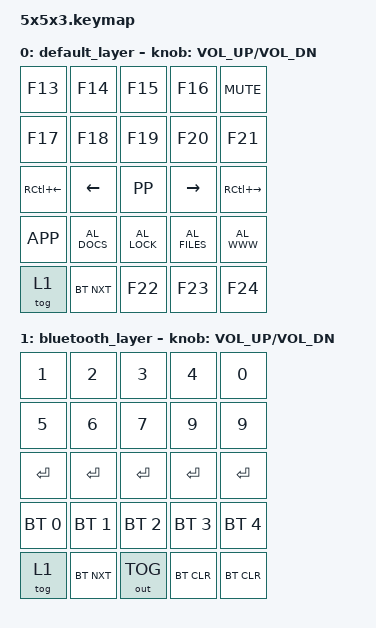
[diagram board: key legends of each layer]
#include <behaviors.dtsi>
#include <dt-bindings/zmk/keys.h>
#include <dt-bindings/zmk/bt.h>
#include <dt-bindings/zmk/ext_power.h>
#include <dt-bindings/zmk/outputs.h>
#include <dt-bindings/zmk/rgb.h>
#include <dt-bindings/zmk/lightgroup.h>
#include <dt-bindings/zmk/color.h>
#include <behaviors/hsv.dtsi>

/ {
    keymap {
        compatible = "zmk,keymap";
        default_layer {
            bindings = <
                     &kp F13         &kp F14         &kp F15         &kp F16         &kp K_MUTE
                     &kp F17         &kp F18         &kp F19         &kp F20         &kp F21
                     &kp RC(LEFT)    &kp LEFT        &kp K_PP        &kp RIGHT       &kp RC(RIGHT)
                     &kp K_APP       &kp C_AL_DOCS   &kp C_AL_LOCK   &kp C_AL_FILES  &kp C_AL_WWW
                     &tog 1          &bt BT_NXT      &kp F22         &kp F23         &kp F24
            >;
            sensor-bindings = <&inc_dec_kp C_VOL_UP C_VOL_DN>;
        };
        bluetooth_layer {
            bindings = <
                     &kp N1          &kp N2          &kp N3          &kp N4          &kp N0
                     &kp N5          &kp N6          &kp N7          &kp N9          &kp N9
                     &kp ENTER       &kp ENTER       &kp ENTER       &kp ENTER       &kp ENTER
                     &bt BT_SEL 0    &bt BT_SEL 1    &bt BT_SEL 2    &bt BT_SEL 3    &bt BT_SEL 4
                     &tog 1          &bt BT_NXT      &out OUT_TOG    &bt BT_CLR      &bt BT_CLR
            >;
            sensor-bindings = <&inc_dec_kp C_VOL_UP C_VOL_DN>;
        };
    };
    ledlayout {
        compatible = "zmk,behavior-led-layout";
        bindings = [ 00 01 02 03 04
                     09 08 07 06 05
                     0a 0b 0c 0d 0e
                     13 12 11 10 0f
                     14 15 16 17 18 ];
   };
   lightgroup {
        compatible = "zmk,light-group";
        default_layer {
            bindings = [ LG_DESKTOP  LG_DESKTOP  LG_DESKTOP  LG_DESKTOP  LG_DESKTOP
                         LG_DESKTOP  LG_DESKTOP  LG_DESKTOP  LG_DESKTOP  LG_DESKTOP
                         LG_VOLUME   LG_VOLUME   LG_VOLUME   LG_VOLUME   LG_VOLUME
                         LG_HID      LG_HID      LG_HID      LG_BATTERY  LG_BATTERY
                         LG_ENDPOINT LG_PROFILE  LG_LAYER    LG_LAYER    LG_LAYER     ];
        };
        bluetooth_layer {
            bindings = [ LG_LAYER    LG_LAYER    LG_LAYER    LG_LAYER    LG_LAYER
                         LG_LAYER    LG_LAYER    LG_LAYER    LG_LAYER    LG_LAYER
                         LG_LAYER    LG_LAYER    LG_LAYER    LG_LAYER    LG_LAYER
                         LG_PROFILE  LG_PROFILE  LG_PROFILE  LG_PROFILE  LG_PROFILE
                         LG_LAYER    LG_PROFILE  LG_PROFILE  LG_PROFILE  LG_PROFILE   ];
        };
   };
   colorgroup {
       compatible = "zmk,color-group";
       backgrounds {
           colors = < &hsv HSV_AMBER >;
       };
       batterys {
           colors = < &hsv HSV_MAGENTA      &hsv HSV_RED     &hsv HSV_YELLOW  &hsv HSV_GREEN    &hsv HSV_GREEN >;
           /*              0%--------------------25%--------------50%--------------75%---------------100%      */
       };
       desktops {
           colors =  < &hsv HSV_CHARTREUSE   &hsv HSV_YELLOW   &hsv HSV_ROSE   &hsv HSV_VIOLET   &hsv HSV_AZURE
                       &hsv HSV_MAGENTA      &hsv HSV_VOLTA    &hsv HSV_CYAN   &hsv HSV_SPRING   &hsv HSV_CRIMSON >;
       };
       endpoints {
           colors = < &hsv HSV_RED          &hsv HSV_GREEN    &hsv HSV_BLUE >;
       };
       hids {
           colors =  < &hsv HSV_RED          &hsv HSV_GREEN    &hsv HSV_BLUE >;
       };
       layers {
           colors = < &hsv HSV_MAGENTA      &hsv HSV_VOLTA    &hsv HSV_CYAN   &hsv HSV_SPRING   &hsv HSV_CRIMSON >;
       };
       profiles {
           colors =  < &hsv HSV_BLUE         &hsv HSV_GREEN >;
       };
       volumes {
           colors =  < &hsv HSV_YELLOW       &hsv HSV_RED >;
           /*               0%--------------------100%    */
       };
   };
};
